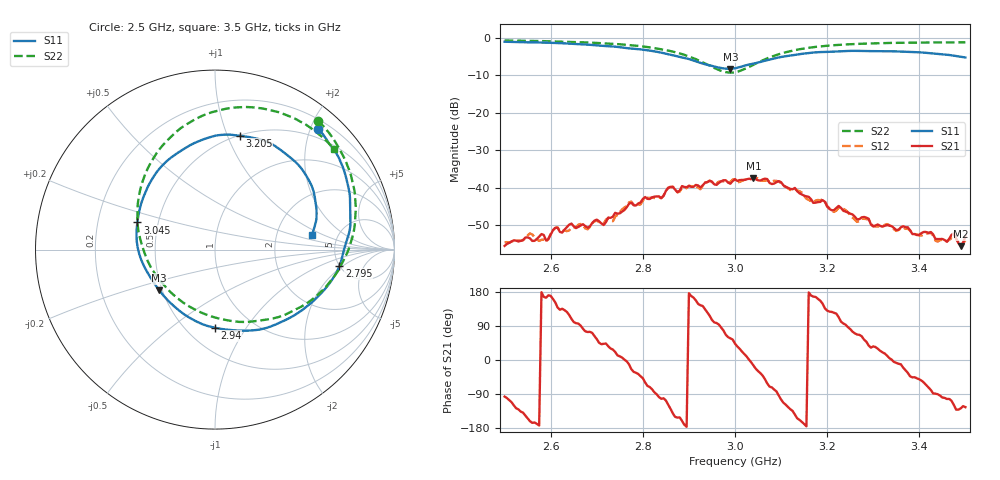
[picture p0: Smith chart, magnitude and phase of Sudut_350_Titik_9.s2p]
# Hz S RI R 50
! CMT, C1220, 16058040, 17.2.0/1
! Date: 15/08/2018 09:51:11
! Data: Format (Calibration Info)
! Freq  S11: Re/Im (F2)  S21: Re/Im (F2)  S12: Re/Im (F2)  S22: Re/Im (F2)
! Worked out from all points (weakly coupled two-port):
!   201 points, 2.5 GHz to 3.5 GHz, reference 50 ohm
!   highest |S21| = -37.52 dB at 3.04 GHz (marker M1); lowest = -55.6 dB at 3.49 GHz (marker M2)
!   lowest |S11| = -8.3 dB at 2.99 GHz (marker M3), VSWR 2.25, Z = 24.1 - j12.8 ohm
!   |S11| at or under -10 dB: nowhere
!   |S22| runs from -9.3 to -0.7 dB; largest |S21 - S12| = 0.0011
!   S11 on the Smith chart (normalised r, x): 2.5 GHz: 0.34, +2.13; 2.795 GHz: 4.99, -1.79; 2.94 GHz: 0.68, -0.73; 3.045 GHz: 0.38, +0.15; 3.205 GHz: 0.50, +1.11; 3.5 GHz: 3.22, +0.72
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2.5e9  0.5751 0.6721  -0.00019 -0.00166  -0.000191 -0.00185  0.5751 0.718
2.555e9  0.6402 0.585  -0.002 -0.000671  -0.00228 -0.000886  0.6363 0.6491
2.59e9  0.6857 0.5198  -0.0019 0.000527  -0.00185 0.000337  0.6725 0.5965
2.61e9  0.7032 0.4811  -0.00258 0.00137  -0.00258 0.00131  0.6925 0.5623
2.67e9  0.7469 0.3307  0.000427 0.00322  0.000663 0.00306  0.7473 0.4447
2.715e9  0.7539 0.1945  0.00233 0.00215  0.00242 0.00227  0.7757 0.3346
2.77e9  0.7211 0.0094  0.00598 -0.00122  0.00622 -0.00139  0.7816 0.1667
2.795e9  0.6934 -0.0918  0.00466 -0.00431  0.00437 -0.00406  0.7678 0.0779
2.835e9  0.595 -0.2394  -0.00103 -0.00758  -0.000754 -0.00736  0.7065 -0.0786
2.94e9  -0.00068 -0.4352  -0.00688 0.00965  -0.00705 0.00955  0.1748 -0.4033
2.99e9  -0.3111 -0.2262  0.0061 0.00949  0.00632 0.0101  -0.2146 -0.2665
3e9  -0.3564 -0.1603  0.00942 0.0088  0.00999 0.00831  -0.2784 -0.2042
3.04e9  -0.436 0.1168  0.0129 -0.00331  0.0132 -0.00288  -0.4255 0.097
3.045e9  -0.4328 0.1516  0.0119 -0.00503  0.0126 -0.00511  -0.4312 0.1379
3.105e9  -0.2715 0.4904  -0.00415 -0.00989  -0.00428 -0.00962  -0.3253 0.5375
3.17e9  0.00417 0.635  -0.00611 0.00138  -0.00625 0.000911  -0.0717 0.7451
3.205e9  0.1368 0.6342  -0.00318 0.00411  -0.00295 0.0044  0.0603 0.7845
3.335e9  0.4743 0.4608  0.0031 0.000272  0.00316 0.000146  0.4172 0.742
3.44e9  0.5649 0.2294  -1.14e-05 -0.00206  -6.03e-05 -0.0019  0.5939 0.6307
3.475e9  0.5587 0.1416  -0.00118 -0.00215  -0.00109 -0.00211  0.6365 0.5896
3.49e9  0.5475 0.1032  -0.00101 -0.00131  -0.00109 -0.00132  0.6537 0.5708
3.5e9  0.5394 0.0787  -0.00126 -0.00184  -0.00124 -0.00155  0.665 0.5581
